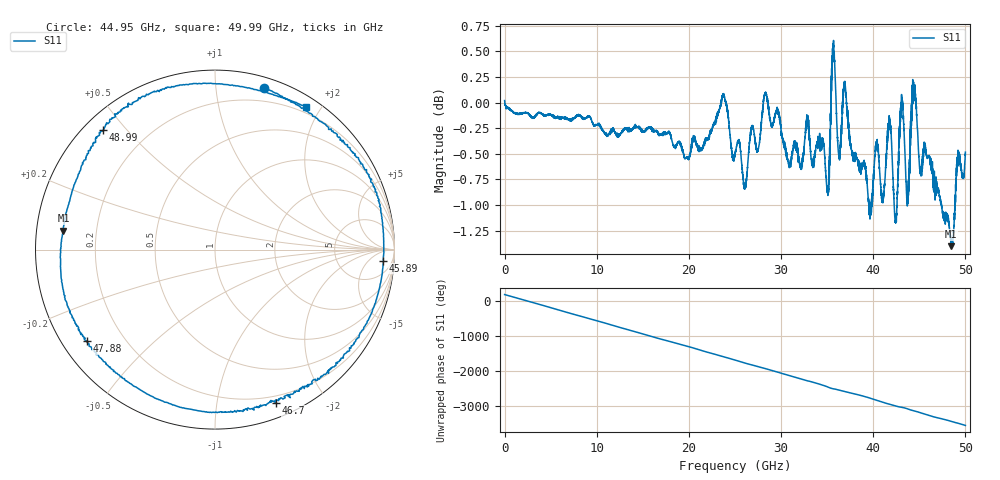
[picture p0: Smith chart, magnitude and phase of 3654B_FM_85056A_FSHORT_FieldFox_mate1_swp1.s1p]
!Created with skrf (http://scikit-rf.org).
# Hz S RI R 50.0
!freq ReS11 ImS11
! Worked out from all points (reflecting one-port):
!   10000 points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, 5.3 MHz to 50 GHz, reference 50 ohm
!   lowest |S11| = -1.4 dB at 48.48 GHz (marker M1), VSWR 12.43, Z = 4.04 + j3.06 ohm
!   phase of S11 starts at 180 deg and turns -3723 deg over the sweep
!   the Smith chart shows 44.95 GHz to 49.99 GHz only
!   S11 on the Smith chart (normalised r, x): 44.95 GHz: 0.09, +1.34; 45.89 GHz: 15, -16; 46.7 GHz: 0.13, -1.47; 47.88 GHz: 0.07, -0.32; 48.99 GHz: 0.05, +0.43; 49.99 GHz: 0.13, +1.82
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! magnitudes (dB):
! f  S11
! 5.3 MHz  0.0
! 6.255 GHz  -0.1
! 12.51 GHz  -0.3
! 18.76 GHz  -0.4
! 23.76 GHz  0.1
! 25.01 GHz  -0.5
! 26.1 GHz  -0.8
! 28.32 GHz  0.1
! 31.26 GHz  -0.5
! 35.04 GHz  -0.9
! 35.7 GHz  0.6
! 36.25 GHz  -0.5
! 36.88 GHz  0.2
! 37.51 GHz  -0.4
! 39.69 GHz  -1.1
! 41.77 GHz  -0.2
! 42.42 GHz  -1.2
! 43.11 GHz  0.0
! 43.76 GHz  -0.9
! 44.4 GHz  0.1
! 44.95 GHz  -0.5
! 45.89 GHz  -0.5
! 46.7 GHz  -0.7
! 47.88 GHz  -1.1
! 48.48 GHz  -1.4
! 48.99 GHz  -0.8
! 49.99 GHz  -0.5
! 50 GHz  -0.5
